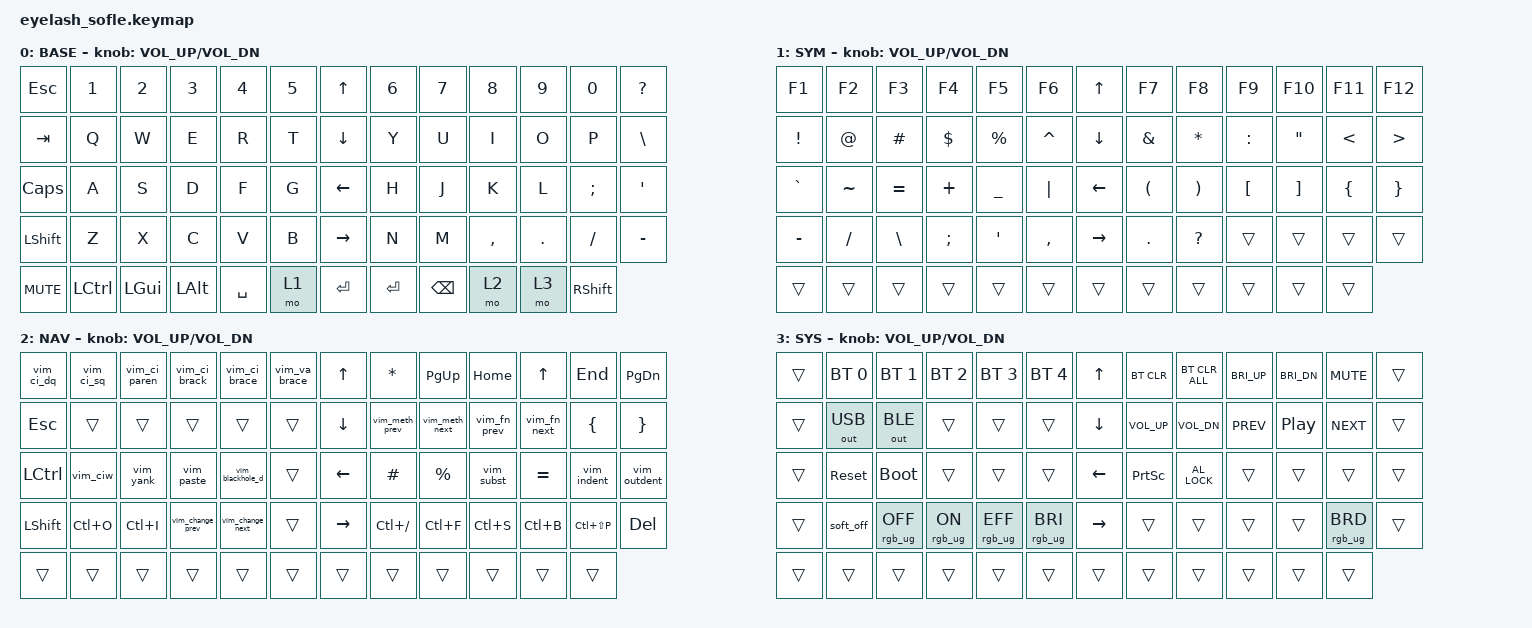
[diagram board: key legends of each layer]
/*
 * ZMK keymap for PandaKB Eyelash Sofle (nice!nano v2)
 * Coding-optimized layout.
 *
 * HARDWARE (from PandaKB Sofle-J / Eyelash):
 *   - Left half: EC11 rotary encoder -> ZMK sensor (volume/scroll)
 *   - Right half: 5-way joystick, wired as MATRIX KEYS in the inner column:
 *       UP    = matrix index 6   (RC(0,7))
 *       DOWN  = matrix index 19  (RC(1,7))
 *       LEFT  = matrix index 32  (RC(2,7))
 *       RIGHT = matrix index 45  (RC(3,7))
 *       PRESS = matrix index 58  (RC(4,7))
 *   - Left encoder press = matrix index 52 (RC(4,0))
 *
 * LAYERS:
 *   0 BASE   QWERTY, mods on thumbs, left encoder = volume
 *   1 SYM    every symbol as one keypress (no Shift), F1-F12, brackets on right home
 *   2 NAV    vim text objects, motions, search, jump list, VS Code shortcuts
 *   3 SYS    bluetooth, output, media, brightness, screenshot, rgb, reset/boot
 *
 * MATRIX (eyelash_sofle default_transform, 5 rows x 14 cols, col6 unused):
 *   13 / 13 / 13 / 13 / 12 = 64 positions.
 *
 *   idx 0-5   : L row0        idx 6  : JOY UP      idx 7-12  : R row0
 *   idx 13-18 : L row1        idx 19 : JOY DOWN    idx 20-25 : R row1
 *   idx 26-31 : L row2        idx 32 : JOY LEFT    idx 33-38 : R row2
 *   idx 39-44 : L row3        idx 45 : JOY RIGHT   idx 46-51 : R row3
 *   idx 52-57 : L thumbs      idx 58 : JOY PRESS   idx 59-63 : R thumbs
 */

#include <behaviors.dtsi>
#include <dt-bindings/zmk/keys.h>
#include <dt-bindings/zmk/bt.h>
#include <dt-bindings/zmk/outputs.h>
#include <dt-bindings/zmk/rgb.h>
#include <dt-bindings/zmk/modifiers.h>
#include <dt-bindings/zmk/pointing.h>

/ {
    macros {
        /* ---- registers / editing ---- */
        vim_yank: vim_yank {                     /* "+y */
            compatible = "zmk,behavior-macro";
            #binding-cells = <0>;
            bindings = <&kp DQT &kp PLUS &kp Y>;
        };

        vim_paste: vim_paste {                   /* "+p */
            compatible = "zmk,behavior-macro";
            #binding-cells = <0>;
            bindings = <&kp DQT &kp PLUS &kp P>;
        };

        vim_blackhole_d: vim_blackhole_d {       /* "_d */
            compatible = "zmk,behavior-macro";
            #binding-cells = <0>;
            bindings = <&kp DQT &kp UNDER &kp D>;
        };

        vim_ciw: vim_ciw {                       /* ciw */
            compatible = "zmk,behavior-macro";
            #binding-cells = <0>;
            bindings = <&kp C &kp I &kp W>;
        };

        /* ---- text objects ---- */
        vim_ci_dq: vim_ci_dq {                   /* ci" */
            compatible = "zmk,behavior-macro";
            #binding-cells = <0>;
            bindings = <&kp C &kp I &kp DQT>;
        };

        vim_ci_sq: vim_ci_sq {                   /* ci' */
            compatible = "zmk,behavior-macro";
            #binding-cells = <0>;
            bindings = <&kp C &kp I &kp APOS>;
        };

        vim_ci_paren: vim_ci_paren {             /* ci( */
            compatible = "zmk,behavior-macro";
            #binding-cells = <0>;
            bindings = <&kp C &kp I &kp LPAR>;
        };

        vim_ci_brack: vim_ci_brack {             /* ci[ */
            compatible = "zmk,behavior-macro";
            #binding-cells = <0>;
            bindings = <&kp C &kp I &kp LBKT>;
        };

        vim_ci_brace: vim_ci_brace {             /* ci{ */
            compatible = "zmk,behavior-macro";
            #binding-cells = <0>;
            bindings = <&kp C &kp I &kp LBRC>;
        };

        vim_va_brace: vim_va_brace {             /* va{ */
            compatible = "zmk,behavior-macro";
            #binding-cells = <0>;
            bindings = <&kp V &kp A &kp LBRC>;
        };

        /* ---- motions ---- */
        vim_meth_prev: vim_meth_prev {           /* [m */
            compatible = "zmk,behavior-macro";
            #binding-cells = <0>;
            bindings = <&kp LBKT &kp M>;
        };

        vim_meth_next: vim_meth_next {           /* ]m */
            compatible = "zmk,behavior-macro";
            #binding-cells = <0>;
            bindings = <&kp RBKT &kp M>;
        };

        vim_fn_prev: vim_fn_prev {               /* [[ */
            compatible = "zmk,behavior-macro";
            #binding-cells = <0>;
            bindings = <&kp LBKT &kp LBKT>;
        };

        vim_fn_next: vim_fn_next {               /* ]] */
            compatible = "zmk,behavior-macro";
            #binding-cells = <0>;
            bindings = <&kp RBKT &kp RBKT>;
        };

        vim_change_prev: vim_change_prev {       /* g; */
            compatible = "zmk,behavior-macro";
            #binding-cells = <0>;
            bindings = <&kp G &kp SEMI>;
        };

        vim_change_next: vim_change_next {       /* g, */
            compatible = "zmk,behavior-macro";
            #binding-cells = <0>;
            bindings = <&kp G &kp COMMA>;
        };

        /* ---- indent / substitute ---- */
        vim_indent: vim_indent {                 /* >> */
            compatible = "zmk,behavior-macro";
            #binding-cells = <0>;
            bindings = <&kp GT &kp GT>;
        };

        vim_outdent: vim_outdent {               /* << */
            compatible = "zmk,behavior-macro";
            #binding-cells = <0>;
            bindings = <&kp LT &kp LT>;
        };

        vim_subst: vim_subst {                   /* :%s/ */
            compatible = "zmk,behavior-macro";
            #binding-cells = <0>;
            bindings = <&kp COLON &kp PRCNT &kp S &kp FSLH>;
        };
    };

    keymap {
        compatible = "zmk,keymap";

        /* ============ LAYER 0 : BASE ============ */
        base {
            display-name = "BASE";
            bindings = <
&kp ESC    &kp N1    &kp N2    &kp N3    &kp N4    &kp N5      &kp UP       &kp N6    &kp N7    &kp N8    &kp N9    &kp N0    &kp QUESTION
&kp TAB    &kp Q       &kp W       &kp E       &kp R       &kp T    &kp DOWN     &kp Y     &kp U     &kp I     &kp O     &kp P     &kp BSLH
&kp CAPS   &kp A       &kp S       &kp D       &kp F       &kp G    &kp LEFT     &kp H     &kp J     &kp K     &kp L     &kp SEMI  &kp APOS
&kp LSHFT  &kp Z    &kp X    &kp C    &kp V    &kp B     &kp RIGHT    &kp N     &kp M     &kp COMMA &kp DOT   &kp FSLH  &kp MINUS
&kp C_MUTE &kp LCTRL &kp LGUI &kp LALT &kp SPACE &mo 1       &kp ENTER &kp ENTER &kp BSPC   &mo 2   &mo 3  &kp RSHFT
            >;
            sensor-bindings = <&inc_dec_kp C_VOL_UP C_VOL_DN>;
        };

        /* ============ LAYER 1 : SYMBOLS ============ */
        /* every symbol is a single keypress (no Shift needed).
         * Best (home) positions -> symbols hardest to reach on BASE:
         *   row0  F1-F12
         *   row1  ! @ # $ % ^   & * : " < >          (Shift+base on BASE)
         *   row2  ` ~ = + _ |   ( ) [ ] { }          (unreachable on BASE)
         *   row3  - / \ ; ' ,   . ?                  (already direct on BASE)
         */
        symbols {
            display-name = "SYM";
            bindings = <
&kp F1     &kp F2    &kp F3    &kp F4    &kp F5    &kp F6                             &kp UP       &kp F7       &kp F8    &kp F9       &kp F10   &kp F11   &kp F12
&kp EXCL   &kp AT    &kp HASH  &kp DLLR  &kp PRCNT &kp CARET                          &kp DOWN     &kp AMPS     &kp STAR  &kp COLON    &kp DQT   &kp LT    &kp GT
&kp GRAVE  &kp TILDE &kp EQUAL &kp PLUS  &kp UNDER &kp PIPE                           &kp LEFT     &kp LPAR     &kp RPAR  &kp LBKT     &kp RBKT  &kp LBRC  &kp RBRC
&kp MINUS  &kp FSLH  &kp BSLH  &kp SEMI  &kp APOS  &kp COMMA                          &kp RIGHT    &kp DOT       &kp QUESTION &trans     &trans    &trans    &trans
&trans     &trans    &trans    &trans    &trans    &trans                             &trans       &trans       &trans    &trans       &trans    &trans
            >;
            sensor-bindings = <&inc_dec_kp C_VOL_UP C_VOL_DN>;
        };

        /* ============ LAYER 2 : NAVIGATION / VIM ============ */
        /* F-keys live on SYM, so the top-left row is a text-object cluster. */
        nav {
            display-name = "NAV";
            bindings = <
&vim_ci_dq &vim_ci_sq &vim_ci_paren &vim_ci_brack &vim_ci_brace &vim_va_brace &kp UP    &kp STAR &kp PG_UP &kp HOME &kp UP  &kp END   &kp PG_DN
&kp ESC    &trans    &trans        &trans        &trans        &trans          &kp DOWN  &vim_meth_prev &vim_meth_next &vim_fn_prev &vim_fn_next &kp LBRC &kp RBRC
&kp LCTRL  &vim_ciw  &vim_yank     &vim_paste    &vim_blackhole_d &trans        &kp LEFT  &kp HASH &kp PRCNT &vim_subst &kp EQUAL &vim_indent &vim_outdent
&kp LSHFT  &kp LC(O) &kp LC(I)     &vim_change_prev &vim_change_next &trans     &kp RIGHT &kp LC(FSLH) &kp LC(F) &kp LC(S) &kp LC(B) &kp LC(LS(P)) &kp DEL
&trans     &trans    &trans        &trans        &trans        &trans          &trans    &trans   &trans    &trans    &trans    &trans
            >;
            sensor-bindings = <&inc_dec_kp C_VOL_UP C_VOL_DN>;
        };

        /* ============ LAYER 3 : SYSTEM ============ */
        sys {
            display-name = "SYS";
            bindings = <
&trans     &bt BT_SEL 0 &bt BT_SEL 1 &bt BT_SEL 2 &bt BT_SEL 3 &bt BT_SEL 4 &kp UP     &bt BT_CLR &bt BT_CLR_ALL &kp C_BRI_UP &kp C_BRI_DN &kp C_MUTE &trans
&trans     &out OUT_USB &out OUT_BLE &trans       &trans       &trans       &kp DOWN   &kp C_VOL_UP &kp C_VOL_DN &kp C_PREV &kp C_PLAY_PAUSE &kp C_NEXT &trans
&trans     &sys_reset  &bootloader  &trans       &trans       &trans       &kp LEFT   &kp PRINTSCREEN &kp C_AL_LOCK &trans &trans &trans &trans
&trans     &soft_off   &rgb_ug RGB_OFF &rgb_ug RGB_ON &rgb_ug RGB_EFF &rgb_ug RGB_BRI &kp RIGHT &trans &trans &trans &trans &rgb_ug RGB_BRD &trans
&trans     &trans      &trans        &trans       &trans       &trans       &trans     &trans     &trans         &trans  &trans  &trans
            >;
            sensor-bindings = <&inc_dec_kp C_VOL_UP C_VOL_DN>;
        };
    };
};
